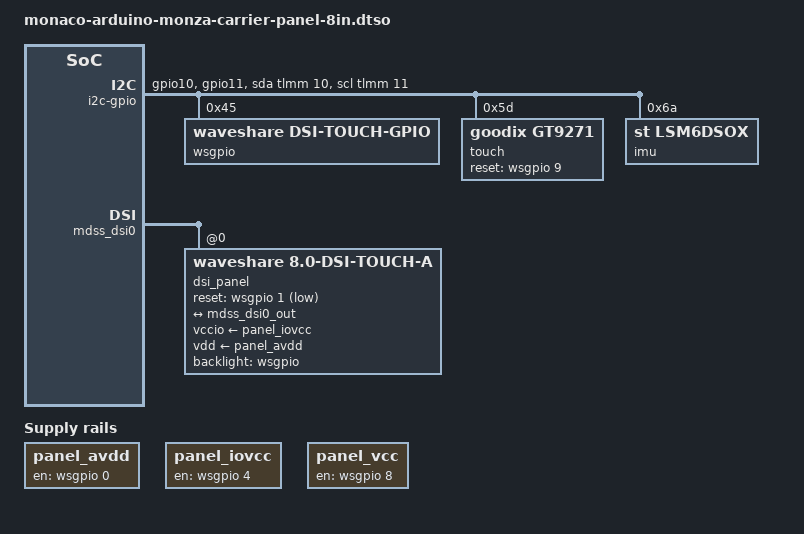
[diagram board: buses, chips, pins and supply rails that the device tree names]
// SPDX-License-Identifier: (GPL-2.0+ OR BSD-3-Clause)
/*
 * Copyright (c) 2026, Arduino SA
 */

 /dts-v1/;
/plugin/;

#include <dt-bindings/gpio/gpio.h>

&{/} {
	panel_avdd: regulator-panel-avdd {
		compatible = "regulator-fixed";
		regulator-name = "panel-avdd";
		gpios = <&wsgpio 0 GPIO_ACTIVE_HIGH>;
		enable-active-high;
	};

	panel_iovcc: regulator-panel-iovcc {
		compatible = "regulator-fixed";
		regulator-name = "panel-iovcc";
		gpios = <&wsgpio 4 GPIO_ACTIVE_HIGH>;
		enable-active-high;
	};

	panel_vcc: regulator-panel-vcc {
		compatible = "regulator-fixed";
		regulator-name = "panel-vcc";
		gpios = <&wsgpio 8 GPIO_ACTIVE_HIGH>;
		enable-active-high;
		regulator-always-on;
	};

	i2c-gpio {
		compatible = "i2c-gpio";
		sda-gpios = <&tlmm 10 (GPIO_ACTIVE_HIGH|GPIO_OPEN_DRAIN)>;
		scl-gpios = <&tlmm 11 (GPIO_ACTIVE_HIGH|GPIO_OPEN_DRAIN)>;

		pinctrl-0 = <&panel_i2c_default>;
		pinctrl-names = "default";

		#address-cells = <1>;
		#size-cells = <0>;

		wsgpio: gpio@45 {
			compatible = "waveshare,dsi-touch-gpio";
			reg = <0x45>;
			gpio-controller;
			#gpio-cells = <2>;
		};

		touch: goodix@5d {
			compatible = "goodix,gt9271";
			reg = <0x5d>;
			reset-gpio = <&wsgpio 9 GPIO_ACTIVE_HIGH>;
		};

		imu@6a {
			compatible = "st,lsm6dsox";
			reg = <0x6a>;
		};
	};
};

&adv7535 {
	status = "disabled";
};

&adv7535_in {
	remote-endpoint = <>;
};

&mdss_dsi0 {
	#address-cells = <1>;
	#size-cells = <0>;

	status = "okay";

	dsi_panel: dsi_panel@0 {
		reg = <0>;
		compatible = "waveshare,8.0-dsi-touch-a", "jadard,jd9365da-h3";
		reset-gpio = <&wsgpio 1 GPIO_ACTIVE_LOW>;
		vccio-supply = <&panel_iovcc>;
		vdd-supply = <&panel_avdd>;
		backlight = <&wsgpio>;

		port {
			panel_in: endpoint {
				remote-endpoint = <&mdss_dsi0_out>;
			};
		};
	};
};

&mdss_dsi0_out {
	remote-endpoint = <&panel_in>;
	data-lanes = <0 1 2 3>;
};

&tlmm {
	panel_i2c_default: panel-i2c-default-state {
		pins = "gpio10", "gpio11";
		function = "gpio";
		drive-strength = <2>;
		bias-disable;
	};
};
